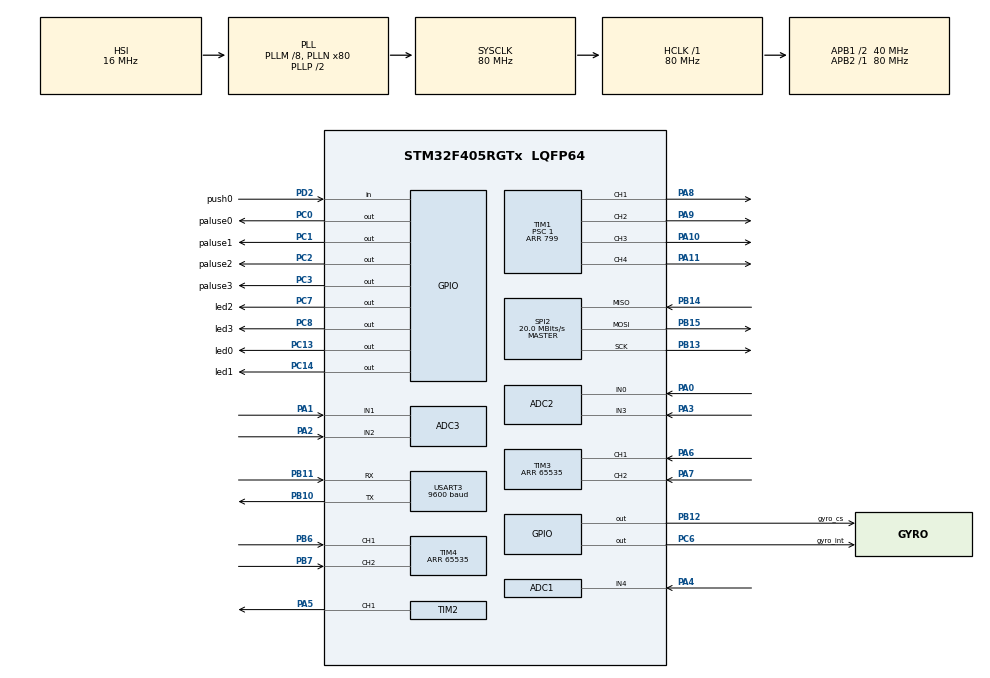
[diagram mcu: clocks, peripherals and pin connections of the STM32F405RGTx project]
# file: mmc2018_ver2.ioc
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ADC1.Channel-8\#ChannelRegularConversion=ADC_CHANNEL_4
ADC1.ClockPrescaler=ADC_CLOCK_SYNC_PCLK_DIV4
ADC1.ContinuousConvMode=DISABLE
ADC1.DMAContinuousRequests=DISABLE
ADC1.DataAlign=ADC_DATAALIGN_RIGHT
ADC1.DiscontinuousConvMode=DISABLE
ADC1.EOCSelection=ADC_EOC_SINGLE_CONV
ADC1.EnableAnalogWatchDog=false
ADC1.ExternalTrigConv=ADC_SOFTWARE_START
ADC1.ExternalTrigConvEdge=ADC_EXTERNALTRIGCONVEDGE_NONE
ADC1.InjNumberOfConversion=0
ADC1.NbrOfConversion=1
ADC1.NbrOfConversionFlag=1
ADC1.Rank-8\#ChannelRegularConversion=1
ADC1.Resolution=ADC_RESOLUTION_12B
ADC1.SamplingTime-8\#ChannelRegularConversion=ADC_SAMPLETIME_56CYCLES
ADC1.ScanConvMode=DISABLE
ADC1.master=1
ADC2.Channel-10\#ChannelRegularConversion=ADC_CHANNEL_0
ADC2.ClockPrescaler=ADC_CLOCK_SYNC_PCLK_DIV4
ADC2.NbrOfConversionFlag=1
ADC2.Rank-10\#ChannelRegularConversion=1
ADC2.SamplingTime-10\#ChannelRegularConversion=ADC_SAMPLETIME_3CYCLES
ADC3.Channel-28\#ChannelRegularConversion=ADC_CHANNEL_1
ADC3.ClockPrescaler=ADC_CLOCK_SYNC_PCLK_DIV4
ADC3.NbrOfConversionFlag=1
ADC3.Rank-28\#ChannelRegularConversion=1
ADC3.SamplingTime-28\#ChannelRegularConversion=ADC_SAMPLETIME_3CYCLES
Mcu.Family=STM32F4
Mcu.Name=STM32F405RGTx
Mcu.Package=LQFP64
NVIC.PriorityGroup=NVIC_PRIORITYGROUP_4
NVIC.TIM5_IRQn=true\:0\:0\:false\:false\:true\:true
PA0-WKUP.Signal=ADCx_IN0
PA1.Signal=ADCx_IN1
PA10.Signal=S_TIM1_CH3
PA11.Signal=S_TIM1_CH4
PA2.Signal=ADCx_IN2
PA3.Signal=ADCx_IN3
PA4.Signal=ADCx_IN4
PA5.Signal=S_TIM2_CH1_ETR
PA6.Signal=S_TIM3_CH1
PA7.Signal=S_TIM3_CH2
PA8.Signal=S_TIM1_CH1
PA9.Signal=S_TIM1_CH2
PB10.Mode=Asynchronous
PB10.Signal=USART3_TX
PB11.Mode=Asynchronous
PB11.Signal=USART3_RX
PB12.GPIO_Label=gyro_cs
PB12.Signal=GPIO_Output
PB13.Mode=Full_Duplex_Master
PB13.Signal=SPI2_SCK
PB14.Mode=Full_Duplex_Master
PB14.Signal=SPI2_MISO
PB15.Mode=Full_Duplex_Master
PB15.Signal=SPI2_MOSI
PB6.Signal=S_TIM4_CH1
PB7.Signal=S_TIM4_CH2
PC0.GPIO_Label=paluse0
PC0.Signal=GPIO_Output
PC1.GPIO_Label=paluse1
PC1.Signal=GPIO_Output
PC13-ANTI_TAMP.GPIO_Label=led0
PC13-ANTI_TAMP.Signal=GPIO_Output
PC14-OSC32_IN.GPIO_Label=led1
PC14-OSC32_IN.Signal=GPIO_Output
PC2.GPIO_Label=paluse2
PC2.Signal=GPIO_Output
PC3.GPIO_Label=paluse3
PC3.Signal=GPIO_Output
PC6.GPIO_Label=gyro_int
PC6.Signal=GPIO_Output
PC7.GPIO_Label=led2
PC7.Signal=GPIO_Output
PC8.GPIO_Label=led3
PC8.Signal=GPIO_Output
PD2.GPIO_Label=push0
PD2.Signal=GPIO_Input
ProjectManager.HeapSize=0x200
ProjectManager.StackSize=0x400
ProjectManager.TargetToolchain=Makefile
RCC.48MHZClocksFreq_Value=40000000
RCC.AHBFreq_Value=80000000
RCC.APB1CLKDivider=RCC_HCLK_DIV2
RCC.APB1Freq_Value=40000000
RCC.APB1TimFreq_Value=80000000
RCC.APB2Freq_Value=80000000
RCC.APB2TimFreq_Value=80000000
RCC.CortexFreq_Value=80000000
RCC.HCLKFreq_Value=80000000
RCC.HSE_VALUE=25000000
RCC.HSI_VALUE=16000000
RCC.LSE_VALUE=32768
RCC.PLLM=8
RCC.PLLN=80
RCC.SYSCLKFreq_VALUE=80000000
RCC.SYSCLKSource=RCC_SYSCLKSOURCE_PLLCLK
RCC.VCOOutputFreq_Value=160000000
SH.ADCx_IN0.0=ADC2_IN0,IN0
SH.ADCx_IN1.0=ADC3_IN1,IN1
SH.ADCx_IN2.0=ADC3_IN2,IN2
SH.ADCx_IN3.0=ADC2_IN3,IN3
SH.ADCx_IN4.0=ADC1_IN4,IN4
SH.S_TIM1_CH1.0=TIM1_CH1,PWM Generation1 CH1
SH.S_TIM1_CH2.0=TIM1_CH2,PWM Generation2 CH2
SH.S_TIM1_CH3.0=TIM1_CH3,PWM Generation3 CH3
SH.S_TIM1_CH4.0=TIM1_CH4,PWM Generation4 CH4
SH.S_TIM2_CH1_ETR.0=TIM2_CH1,PWM Generation1 CH1
SH.S_TIM3_CH1.0=TIM3_CH1,Encoder_Interface
SH.S_TIM3_CH2.0=TIM3_CH2,Encoder_Interface
SH.S_TIM4_CH1.0=TIM4_CH1,Encoder_Interface
SH.S_TIM4_CH2.0=TIM4_CH2,Encoder_Interface
SPI2.CalculateBaudRate=20.0 MBits/s
SPI2.Direction=SPI_DIRECTION_2LINES
SPI2.Mode=SPI_MODE_MASTER
SPI2.VirtualType=VM_MASTER
TIM1.Channel-PWM\ Generation1\ CH1=TIM_CHANNEL_1
TIM1.Channel-PWM\ Generation2\ CH2=TIM_CHANNEL_2
TIM1.Channel-PWM\ Generation3\ CH3=TIM_CHANNEL_3
TIM1.Channel-PWM\ Generation4\ CH4=TIM_CHANNEL_4
TIM1.Period=799
TIM1.Prescaler=1
TIM2.Channel-PWM\ Generation1\ CH1=TIM_CHANNEL_1
TIM2.Period=999
TIM2.Prescaler=9
TIM3.Period=65535
TIM4.Period=65535
TIM5.Period=999
TIM5.Prescaler=9
USART3.BaudRate=9600
USART3.VirtualMode=VM_ASYNC
VP_TIM5_VS_ClockSourceINT.Mode=Internal
board=mmc2018_ver2

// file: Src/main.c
/**
  ******************************************************************************
  * @file           : main.c
  * @brief          : Main program body
  ******************************************************************************
  ** This notice applies to any and all portions of this file
  * that are not between comment pairs USER CODE BEGIN and
  * USER CODE END. Other portions of this file, whether
  * inserted by the user or by software development tools
  * are owned by their respective copyright owners.
  *
  * COPYRIGHT(c) 2018 STMicroelectronics
  *
  * Redistribution and use in source and binary forms, with or without modification,
  * are permitted provided that the following conditions are met:
  *   1. Redistributions of source code must retain the above copyright notice,
  *      this list of conditions and the following disclaimer.
  *   2. Redistributions in binary form must reproduce the above copyright notice,
  *      this list of conditions and the following disclaimer in the documentation
  *      and/or other materials provided with the distribution.
  *   3. Neither the name of STMicroelectronics nor the names of its contributors
  *      may be used to endorse or promote products derived from this software
  *      without specific prior written permission.
  *
  * THIS SOFTWARE IS PROVIDED BY THE COPYRIGHT HOLDERS AND CONTRIBUTORS "AS IS"
  * AND ANY EXPRESS OR IMPLIED WARRANTIES, INCLUDING, BUT NOT LIMITED TO, THE
  * IMPLIED WARRANTIES OF MERCHANTABILITY AND FITNESS FOR A PARTICULAR PURPOSE ARE
  * DISCLAIMED. IN NO EVENT SHALL THE COPYRIGHT HOLDER OR CONTRIBUTORS BE LIABLE
  * FOR ANY DIRECT, INDIRECT, INCIDENTAL, SPECIAL, EXEMPLARY, OR CONSEQUENTIAL
  * DAMAGES (INCLUDING, BUT NOT LIMITED TO, PROCUREMENT OF SUBSTITUTE GOODS OR
  * SERVICES; LOSS OF USE, DATA, OR PROFITS; OR BUSINESS INTERRUPTION) HOWEVER
  * CAUSED AND ON ANY THEORY OF LIABILITY, WHETHER IN CONTRACT, STRICT LIABILITY,
  * OR TORT (INCLUDING NEGLIGENCE OR OTHERWISE) ARISING IN ANY WAY OUT OF THE USE
  * OF THIS SOFTWARE, EVEN IF ADVISED OF THE POSSIBILITY OF SUCH DAMAGE.
  *
  ******************************************************************************
  */
#include "main.h"
#include "stm32f4xx_hal.h"
#include "adc.h"
#include "spi.h"
#include "tim.h"
#include "usart.h"
#include "gpio.h"

/* USER CODE BEGIN Includes */
#include "interface.h"
#include "other_function.h"
#include "mode.h"
#include "filter.h"
#include "global.h"
/* USER CODE END Includes */

/* USER CODE BEGIN PV */
#ifdef __GNUC__
#define PUTCHAR_PROTOTYPE int __io_putchar(int ch)
#else
#define PUTCHAR_PROTOTYPE int fputc(int ch, FILE *f)
#endif /* __GNUC__ */
void __io_putchar(uint8_t ch) {
  HAL_UART_Transmit(&huart3, &ch, 1, 1);
}
/* Private variables ---------------------------------------------------------*/

/* USER CODE END PV */

void SystemClock_Config(void);

/* USER CODE BEGIN PFP */
/* Private function prototypes -----------------------------------------------*/
void Init_Main(void);
/* USER CODE END PFP */

int main(void)
{

  /* MCU Configuration----------------------------------------------------------*/

  /* Reset of all peripherals, Initializes the Flash interface and the Systick. */
  HAL_Init();

  /* Configure the system clock */
  SystemClock_Config();

  /* Initialize all configured peripherals */
  MX_GPIO_Init();
  MX_USART3_UART_Init();
  MX_TIM4_Init();
  MX_SPI2_Init();
  MX_TIM3_Init();
  MX_TIM2_Init();
  MX_TIM1_Init();
  MX_TIM5_Init();
  MX_ADC1_Init();
  MX_ADC2_Init();
  MX_ADC3_Init();
  /* USER CODE BEGIN 2 */
  Init_Main();
  /* USER CODE END 2 */

  /* Infinite loop */
  while (1)
  {
  Mode_mouse(Mode_select());
  }

}

void SystemClock_Config(void)
{

  RCC_OscInitTypeDef RCC_OscInitStruct;
  RCC_ClkInitTypeDef RCC_ClkInitStruct;

    /**Configure the main internal regulator output voltage
    */
  __HAL_RCC_PWR_CLK_ENABLE();

  __HAL_PWR_VOLTAGESCALING_CONFIG(PWR_REGULATOR_VOLTAGE_SCALE1);

    /**Initializes the CPU, AHB and APB busses clocks
    */
  RCC_OscInitStruct.OscillatorType = RCC_OSCILLATORTYPE_HSI;
  RCC_OscInitStruct.HSIState = RCC_HSI_ON;
  RCC_OscInitStruct.HSICalibrationValue = 16;
  RCC_OscInitStruct.PLL.PLLState = RCC_PLL_ON;
  RCC_OscInitStruct.PLL.PLLSource = RCC_PLLSOURCE_HSI;
  RCC_OscInitStruct.PLL.PLLM = 8;
  RCC_OscInitStruct.PLL.PLLN = 80;
  RCC_OscInitStruct.PLL.PLLP = RCC_PLLP_DIV2;
  RCC_OscInitStruct.PLL.PLLQ = 4;
  if (HAL_RCC_OscConfig(&RCC_OscInitStruct) != HAL_OK)
  {
    _Error_Handler(__FILE__, __LINE__);
  }

    /**Initializes the CPU, AHB and APB busses clocks
    */
  RCC_ClkInitStruct.ClockType = RCC_CLOCKTYPE_HCLK|RCC_CLOCKTYPE_SYSCLK
                              |RCC_CLOCKTYPE_PCLK1|RCC_CLOCKTYPE_PCLK2;
  RCC_ClkInitStruct.SYSCLKSource = RCC_SYSCLKSOURCE_PLLCLK;
  RCC_ClkInitStruct.AHBCLKDivider = RCC_SYSCLK_DIV1;
  RCC_ClkInitStruct.APB1CLKDivider = RCC_HCLK_DIV2;
  RCC_ClkInitStruct.APB2CLKDivider = RCC_HCLK_DIV1;

  if (HAL_RCC_ClockConfig(&RCC_ClkInitStruct, FLASH_LATENCY_2) != HAL_OK)
  {
    _Error_Handler(__FILE__, __LINE__);
  }

    /**Configure the Systick interrupt time
    */
  HAL_SYSTICK_Config(HAL_RCC_GetHCLKFreq()/1000);

    /**Configure the Systick
    */
  HAL_SYSTICK_CLKSourceConfig(SYSTICK_CLKSOURCE_HCLK);

  /* SysTick_IRQn interrupt configuration */
  HAL_NVIC_SetPriority(SysTick_IRQn, 0, 0);
}

/* USER CODE BEGIN 4 */

/****************************************************************************************
 * outline  : init main(setbuf,tim5,3,4,gyro,battery,flag,ms_count)
 * argument : void
 * return   : void
********************************************************************************************/
void Init_Main(void){
  //start check
  Output_Buzzer(HZ_B);
  Output_Buzzer(HZ_A);
  //printf
  setbuf(stdout, NULL);
  //tim start
  HAL_TIM_Base_Start_IT(&htim5);
  HAL_TIM_Encoder_Start( &htim3, TIM_CHANNEL_ALL );
  HAL_TIM_Encoder_Start( &htim4, TIM_CHANNEL_ALL );
  //reset
  Reset_Flag();
  Reset_Value();
  //sensor set
  Input_Sensor();
  //gyro
  set_mpu6500();
  //battry check
  Batt_check();
}
/* USER CODE END 4 */

void _Error_Handler(char *file, int line)
{
  while(1)
  {
  }
}

/************************ (C) COPYRIGHT STMicroelectronics *****END OF FILE****/
